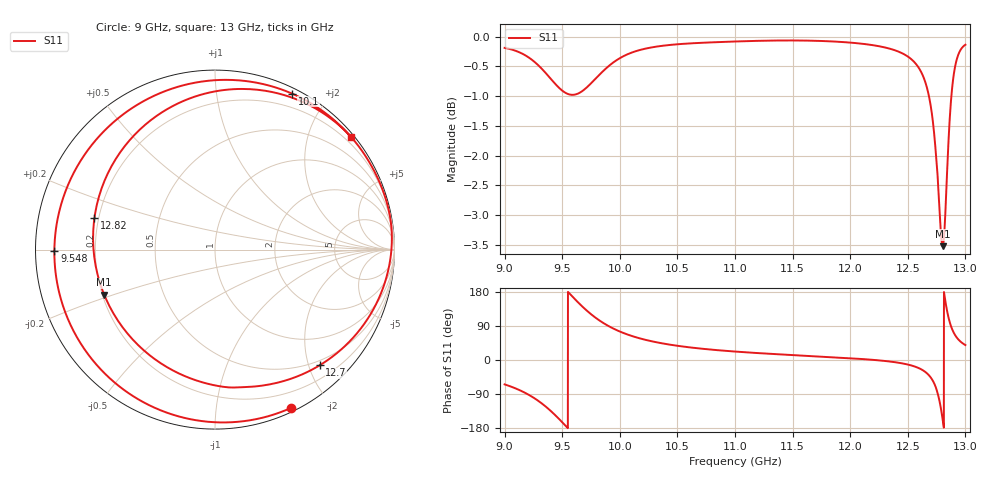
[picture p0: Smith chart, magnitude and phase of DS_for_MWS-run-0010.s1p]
! TOUCHSTONE file generated by CST DESIGN STUDIO
! Date and time: Tue Feb  4 16:48:31 2025
! Project name: C:\Work\MatlabApps\UnitCellOptimizationMatlab\CST\unitcell.cst
! Tree item: Tasks\Sweep1\SPara1\S-Parameters
! Header version: 2024
! Port assignment regex: !\s*Touchstone port\s*([0-9]+)\s*=\s*(CST MWS port|CST DES external port|CST DES block port)\s*(.+)\s* \(\"(.*)\"\)(\s*mode\s*([0-9]+))?.*
! Touchstone port assignment:
! Touchstone port 1 = CST DES external port 1 ("")
# GHz S MA R 50
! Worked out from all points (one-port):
!   4001 points, 9 GHz to 13 GHz, reference 50 ohm
!   lowest |S11| = -3.5 dB at 12.8 GHz (marker M1), VSWR 5.00, Z = 10.4 - j9.37 ohm
!   |S11| at or under -10 dB: nowhere
!   S11 on the Smith chart (normalised r, x): 9 GHz: 0.04, -1.59; 9.548 GHz: 0.06, -0.00; 10.1 GHz: 0.06, +1.61; 12.7 GHz: 0.42, -2.19; 12.82 GHz: 0.18, +0.13; 13 GHz: 0.07, +2.79
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9  0.9784 -64.3
9.143  0.9686 -81.4
9.292  0.9461 -107.8
9.394  0.9231 -132.6
9.5  0.9008 -164.2
9.548  0.895 -179.6
9.638  0.8956 152.0
9.758  0.9151 118.9
9.865  0.9374 96.1
10  0.9591 75.2
10.101  0.9693 63.7
10.277  0.9793 49.4
10.5  0.9852 37.5
11  0.9905 22.3
11.5  0.9925 13.0
12  0.9884 4.7
12.5  0.9622 -12.0
12.629  0.9281 -26.7
12.703  0.8695 -47.8
12.733  0.8207 -64.3
12.763  0.7512 -92.1
12.783  0.6942 -120.3
12.803  0.6666 -157.9
12.821  0.6947 165.2
12.849  0.8006 117.9
12.876  0.8858 88.4
12.929  0.9597 57.7
13  0.9844 39.4
